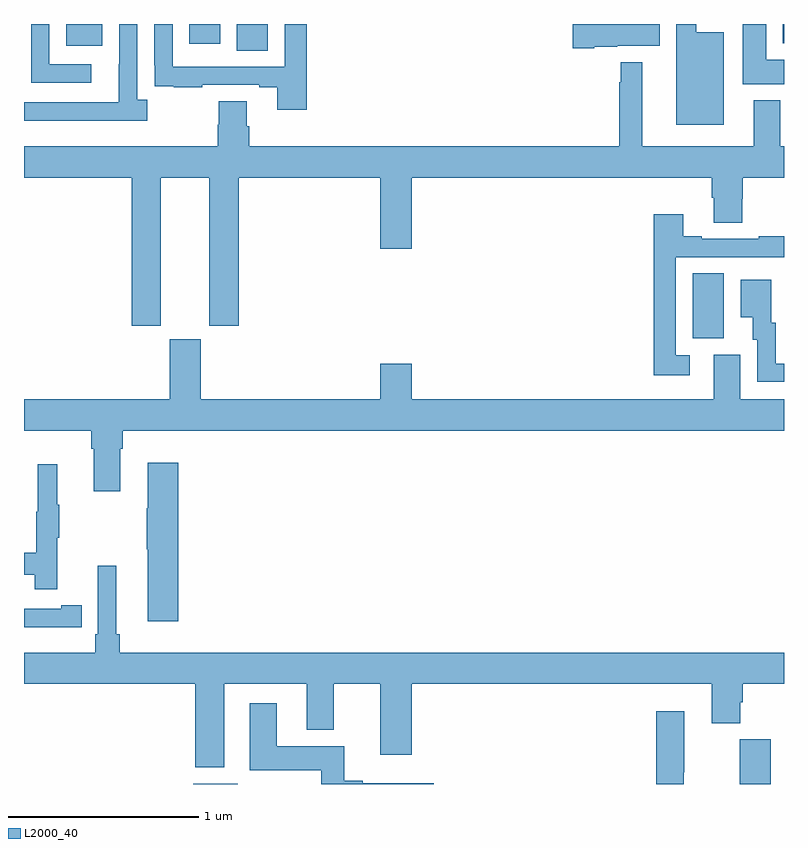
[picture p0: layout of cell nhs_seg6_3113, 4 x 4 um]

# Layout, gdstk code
import gdstk
lib = gdstk.Library(unit=1e-6, precision=1e-09)
def R(c, l, rs):  # rectangles x0, y0, x1, y1
    for r in rs: c.add(gdstk.rectangle(r[:2], r[2:], *l))
def P(c, l, *ps):  # polygons
    for p in ps: c.add(gdstk.Polygon(p, *l))
L2000_40 = (2000, 40)

nhs_seg6_3113 = lib.new_cell('nhs_seg6_3113')
R(nhs_seg6_3113, L2000_40, [(295.892,921.5,296.125,921.502), (298.766,921.5,298.93,921.735), (298.52,923.845,298.684,924.188), (296.12,925.36,296.284,925.5), (295.223,925.385,295.411,925.5), (295.871,925.395,296.032,925.5), (298.994,925.4,299,925.5)])
P(nhs_seg6_3113, L2000_40, [(298,925.379),(298.122,925.379),(298.122,925.385),(298.345,925.385),(298.345,925.5),(297.888,925.5),(297.888,925.373),(298,925.373)],
  [(295.648,925.102),(295.596,925.102),(295.596,925.5),(295.5,925.5),(295.5,925.289),(295.499,925.289),(295.499,925.089),(295,925.089),(295,924.992),(295.648,924.992)],
  [(299,925.312),(298.906,925.312),(298.906,925.5),(298.784,925.5),(298.784,925.184),(299,925.184)],
  [(296.489,925.5),(296.373,925.5),(296.373,925.275),(295.782,925.275),(295.782,925.5),(295.686,925.5),(295.686,925.282),(295.687,925.282),(295.687,925.173),(295.789,925.173),(295.789,925.167),(295.937,925.167),(295.937,925.179),(296.237,925.179),(296.237,925.167),(296.333,925.167),(296.333,925.05),(296.489,925.05)],
  [(298.684,925.456),(298.537,925.456),(298.537,925.5),(298.433,925.5),(298.433,924.971),(298.684,924.971)],
  [(295.354,925.287),(295.134,925.287),(295.134,925.5),(295.038,925.5),(295.038,925.191),(295.354,925.191)],
  [(295.72,924.692),(295.976,924.692),(295.976,923.913),(296.129,923.913),(296.129,924.692),(296.876,924.692),(296.876,924.318),(297.04,924.318),(297.04,924.692),(298.619,924.692),(298.619,924.586),(298.631,924.586),(298.631,924.454),(298.779,924.454),(298.779,924.579),(298.784,924.579),(298.784,924.692),(299,924.692),(299,924.856),(298.981,924.856),(298.981,925.099),(298.841,925.099),(298.841,924.856),(298.255,924.856),(298.255,925.3),(298.141,925.3),(298.141,925.193),(298.134,925.193),(298.134,924.856),(296.186,924.856),(296.186,924.962),(296.173,924.962),(296.173,925.094),(296.026,925.094),(296.026,924.969),(296.021,924.969),(296.021,924.856),(295,924.856),(295,924.692),(295.568,924.692),(295.568,923.913),(295.72,923.913)],
  [(298.504,923.757),(298.431,923.757),(298.431,924.273),(299,924.273),(299,924.382),(298.867,924.382),(298.867,924.369),(298.567,924.369),(298.567,924.382),(298.471,924.382),(298.471,924.499),(298.315,924.499),(298.315,923.652),(298.504,923.652)],
  [(299,923.712),(298.957,923.712),(298.957,923.928),(298.933,923.928),(298.933,924.154),(298.772,924.154),(298.772,923.957),(298.835,923.957),(298.835,923.838),(298.86,923.838),(298.86,923.616),(299,923.616)],
  [(295.507,923.264),(295.52,923.264),(295.52,923.36),(299,923.36),(299,923.524),(298.771,923.524),(298.771,923.76),(298.631,923.76),(298.631,923.524),(297.04,923.524),(297.04,923.713),(296.876,923.713),(296.876,923.524),(295.93,923.524),(295.93,923.841),(295.766,923.841),(295.766,923.524),(295,923.524),(295,923.36),(295.355,923.36),(295.355,923.264),(295.367,923.264),(295.367,923.04),(295.507,923.04)],
  [(295.811,923.191),(295.652,923.191),(295.652,922.952),(295.645,922.952),(295.645,922.735),(295.652,922.735),(295.652,922.356),(295.811,922.356)],
  [(295.175,922.795),(295.186,922.795),(295.186,922.969),(295.175,922.969),(295.175,923.182),(295.072,923.182),(295.072,922.932),(295.065,922.932),(295.065,922.718),(295,922.718),(295,922.602),(295.057,922.602),(295.057,922.524),(295.175,922.524)],
  [(296.053,922.028),(296.489,922.028),(296.489,921.785),(296.629,921.785),(296.629,922.028),(296.876,922.028),(296.876,921.654),(297.04,921.654),(297.04,922.028),(298.619,922.028),(298.619,921.82),(298.771,921.82),(298.771,921.929),(298.784,921.929),(298.784,922.028),(299,922.028),(299,922.192),(295.505,922.192),(295.505,922.288),(295.486,922.288),(295.486,922.648),(295.389,922.648),(295.389,922.288),(295.376,922.288),(295.376,922.192),(295,922.192),(295,922.028),(295.901,922.028),(295.901,921.587),(296.053,921.587)],
  [(295.196,922.326),(295.304,922.326),(295.304,922.442),(295.196,922.442),(295.196,922.422),(295,922.422),(295,922.325),(295.196,922.325)],
  [(297.157,921.505),(296.782,921.505),(296.782,921.518),(296.686,921.518),(296.686,921.7),(296.329,921.7),(296.329,921.925),(296.189,921.925),(296.189,921.572),(296.564,921.572),(296.564,921.5),(297.157,921.5)],
  [(298.473,921.562),(298.474,921.562),(298.474,921.883),(298.328,921.883),(298.328,921.5),(298.473,921.5)])

lib.write_gds('nhs_seg6_3113.gds')
